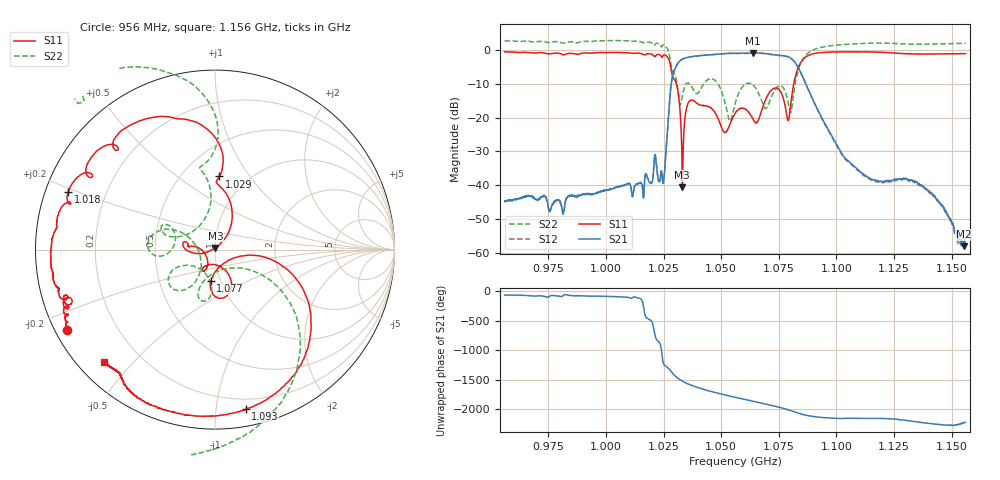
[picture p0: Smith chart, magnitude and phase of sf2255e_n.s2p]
!Agilent Technologies,E5070B,MY42401607,A.08.11
!Date: Tue Nov 30 11:27:51 2010
!Data & Calibration Information:
!Freq	S11:SOLT2(ON)	S21:SOLT2(ON)	S12:SOLT2(ON)	S22:SOLT2(ON)
# Hz S dB R 50
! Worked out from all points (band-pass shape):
!   1601 points, 956 MHz to 1.156 GHz, reference 50 ohm
!   highest |S21| = -0.90 dB at 1.064 GHz (marker M1); lowest = -58.0 dB at 1.155 GHz (marker M2)
!   |S21| within 3 dB of the highest: 1.031 GHz to 1.082 GHz (51 MHz wide, 4.83 % of centre)
!   lowest |S11| = -40.6 dB at 1.033 GHz (marker M3), VSWR 1.02, Z = 50.2 + j0.92 ohm
!   |S11| at or under -10 dB: 1.031 GHz to 1.082 GHz (50.96 MHz wide, 4.83 % of centre)
!   |S22| runs from -21.0 to 2.8 dB; largest |S21 - S12| = 0.013
!   S11 on the Smith chart (normalised r, x): 956 MHz: 0.03, -0.25; 1.018 GHz: 0.07, +0.19; 1.029 GHz: 0.75, +0.73; 1.077 GHz: 0.90, -0.33; 1.093 GHz: 0.12, -1.20; 1.156 GHz: 0.07, -0.42
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9.56e8  -0.56 -151.5  -44.71 -64.7  -44.80 -64.3  2.63 -154.8
9.89375e8  -0.98 -161.9  -42.69 -78.9  -42.86 -76.2  2.47 -166.3
1.01825e9  -1.13 158.6  -38.21 -108.2  -38.19 -106.2  2.31 154.2
1.02275e9  -1.32 142.9  -38.50 -131.0  -38.37 -129.7  1.88 138.0
1.02525e9  -1.48 128.1  -37.31 -166.4  -37.23 -165.4  1.40 123.4
1.028875e9  -7.77 86.6  -7.75 50.3  -7.64 50.6  -6.37 97.1
1.03075e9  -10.50 75.4  -4.47 -20.8  -4.46 -20.7  -9.59 94.4
1.033125e9  -40.56 77.8  -2.70 -83.5  -2.72 -83.0  -13.68 159.3
1.038625e9  -15.29 165.2  -1.85 -176.8  -1.86 -176.5  -12.53 159.7
1.045625e9  -17.12 172.7  -1.40 100.6  -1.42 101.2  -8.47 175.2
1.056e9  -18.72 -114.2  -0.99 2.2  -1.05 2.1  -15.93 -122.8
1.06375e9  -20.34 -115.3  -0.90 -64.5  -1.01 -64.3  -10.28 -148.8
1.069625e9  -14.19 -62.6  -1.10 -116.5  -1.14 -116.6  -17.16 -118.8
1.07725e9  -14.99 -97.6  -1.73 171.2  -1.80 171.1  -11.52 -110.9
1.07925e9  -20.60 -46.8  -2.07 147.4  -2.11 147.2  -16.14 -103.4
1.081875e9  -8.75 -12.3  -3.52 112.0  -3.55 111.7  -10.98 -28.4
1.089375e9  -1.24 -66.6  -14.02 39.3  -14.19 38.0  -0.22 -72.3
1.0925e9  -0.86 -79.2  -18.49 24.1  -18.67 23.4  0.60 -84.1
1.12275e9  -0.82 -122.7  -38.66 -1.3  -38.95 -1.7  1.97 -127.7
1.1385e9  -1.22 -128.9  -40.81 -73.9  -41.10 -74.4  1.73 -134.1
1.155375e9  -1.10 -134.1  -57.97 -69.8  -57.84 -75.1  1.94 -139.3
1.156e9  -1.10 -134.4  -55.71 -64.8  -56.33 -62.3  1.97 -139.5
